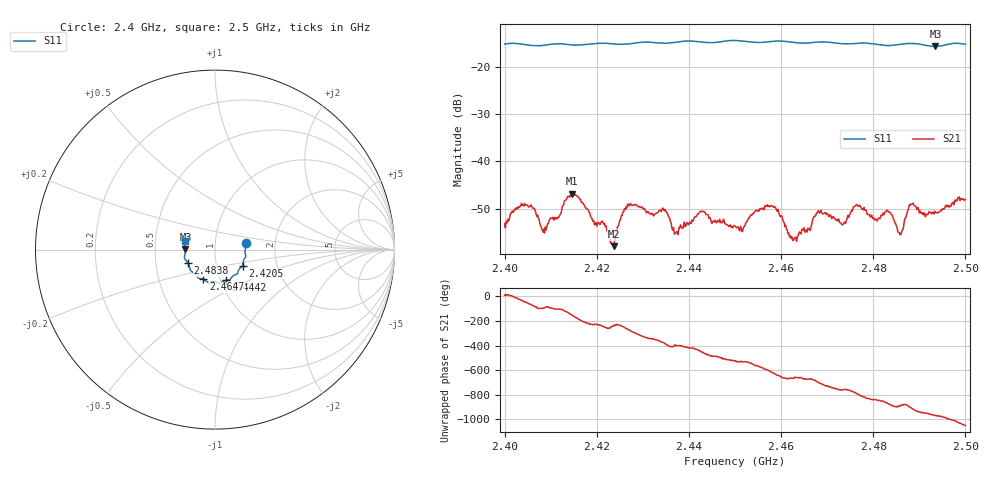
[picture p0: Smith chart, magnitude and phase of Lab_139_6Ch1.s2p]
# Hz S RI R 50
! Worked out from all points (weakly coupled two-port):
!   601 points, 2.4 GHz to 2.5 GHz, reference 50 ohm
!   highest |S21| = -46.82 dB at 2.4147 GHz (marker M1); lowest = -58.0 dB at 2.4237 GHz (marker M2)
!   lowest |S11| = -15.7 dB at 2.4935 GHz (marker M3), VSWR 1.39, Z = 35.9 + j0.103 ohm
!   |S11| at or under -10 dB: start of sweep to end of sweep
!   S12 and S22 are empty: the file has one direction only
!   S11 on the Smith chart (normalised r, x): 2.4 GHz: 1.40, +0.11; 2.4205 GHz: 1.34, -0.25; 2.4442 GHz: 1.06, -0.37; 2.4647 GHz: 0.83, -0.29; 2.4838 GHz: 0.73, -0.11; 2.5 GHz: 0.71, +0.07
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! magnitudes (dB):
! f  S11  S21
! 2.4 GHz  -15.2  -53.2
! 2.4042 GHz  -15.2  -49.4
! 2.4087 GHz  -15.4  -55.2
! 2.4147 GHz  -15.4  -46.8
! 2.4167 GHz  -15.3  -48.7
! 2.4205 GHz  -15.0  -53.1
! 2.4237 GHz  -15.1  -58.0
! 2.4268 GHz  -15.1  -49.0
! 2.4333 GHz  -14.9  -50.8
! 2.4372 GHz  -14.8  -55.2
! 2.4442 GHz  -14.9  -51.3
! 2.45 GHz  -14.4  -53.7
! 2.4575 GHz  -14.6  -49.7
! 2.4623 GHz  -14.8  -56.0
! 2.4647 GHz  -15.0  -54.3
! 2.4667 GHz  -14.9  -53.3
! 2.4833 GHz  -15.5  -50.8
! 2.4838 GHz  -15.5  -51.1
! 2.4858 GHz  -15.2  -55.6
! 2.4883 GHz  -15.0  -49.1
! 2.4935 GHz  -15.7  -50.9
! 2.5 GHz  -15.2  -48.1
